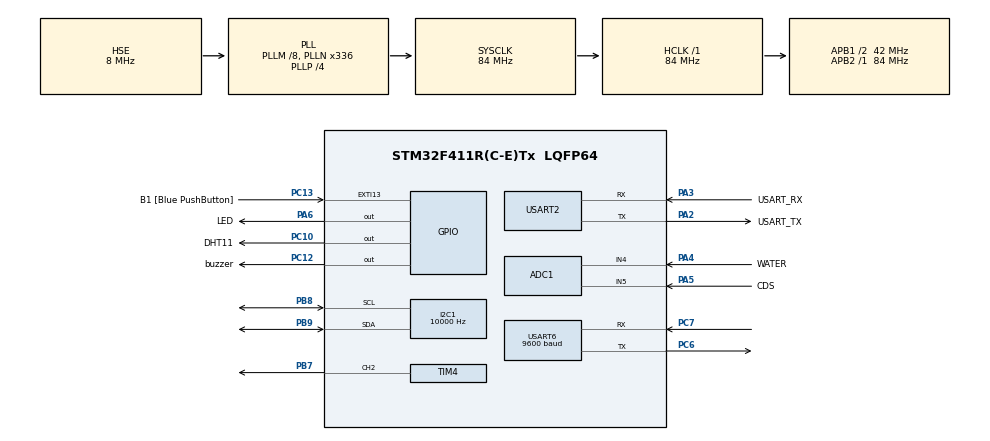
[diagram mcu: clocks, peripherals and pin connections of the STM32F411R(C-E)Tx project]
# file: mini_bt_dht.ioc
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ADC1.Channel-0\#ChannelRegularConversion=ADC_CHANNEL_5
ADC1.NbrOfConversionFlag=1
ADC1.Rank-0\#ChannelRegularConversion=1
ADC1.SamplingTime-0\#ChannelRegularConversion=ADC_SAMPLETIME_3CYCLES
ADC1.master=1
I2C1.ClockSpeed=10000
Mcu.Family=STM32F4
Mcu.Name=STM32F411R(C-E)Tx
Mcu.Package=LQFP64
NVIC.PriorityGroup=NVIC_PRIORITYGROUP_0
NVIC.USART2_IRQn=true\:0\:0\:false\:false\:true\:true\:true\:true
NVIC.USART6_IRQn=true\:0\:0\:false\:false\:true\:true\:true\:true
PA13.GPIO_Label=TMS
PA13.Mode=Serial_Wire
PA13.Signal=SYS_JTMS-SWDIO
PA14.GPIO_Label=TCK
PA14.Mode=Serial_Wire
PA14.Signal=SYS_JTCK-SWCLK
PA2.GPIO_Label=USART_TX
PA2.Mode=Asynchronous
PA2.Signal=USART2_TX
PA3.GPIO_Label=USART_RX
PA3.Mode=Asynchronous
PA3.Signal=USART2_RX
PA4.GPIO_Label=WATER
PA4.Signal=ADCx_IN4
PA5.GPIO_Label=CDS
PA5.Signal=ADCx_IN5
PA6.GPIO_Label=LED
PA6.Signal=GPIO_Output
PB3.GPIO_Label=SWO
PB3.Signal=SYS_JTDO-SWO
PB7.Signal=S_TIM4_CH2
PB8.Mode=I2C
PB8.Signal=I2C1_SCL
PB9.Mode=I2C
PB9.Signal=I2C1_SDA
PC10.GPIO_Label=DHT11
PC10.Signal=GPIO_Output
PC12.GPIO_Label=buzzer
PC12.Signal=GPIO_Output
PC13-ANTI_TAMP.GPIO_Label=B1 [Blue PushButton]
PC13-ANTI_TAMP.GPIO_ModeDefaultEXTI=GPIO_MODE_IT_FALLING
PC13-ANTI_TAMP.Signal=GPXTI13
PC14-OSC32_IN.Signal=RCC_OSC32_IN
PC15-OSC32_OUT.Signal=RCC_OSC32_OUT
PC6.Mode=Asynchronous
PC6.Signal=USART6_TX
PC7.Mode=Asynchronous
PC7.Signal=USART6_RX
PH0\ -\ OSC_IN.Mode=HSE-External-Oscillator
PH0\ -\ OSC_IN.Signal=RCC_OSC_IN
PH1\ -\ OSC_OUT.Mode=HSE-External-Oscillator
PH1\ -\ OSC_OUT.Signal=RCC_OSC_OUT
ProjectManager.HeapSize=0x200
ProjectManager.StackSize=0x400
ProjectManager.TargetToolchain=STM32CubeIDE
RCC.48MHZClocksFreq_Value=84000000
RCC.AHBFreq_Value=84000000
RCC.APB1CLKDivider=RCC_HCLK_DIV2
RCC.APB1Freq_Value=42000000
RCC.APB1TimFreq_Value=84000000
RCC.APB2Freq_Value=84000000
RCC.APB2TimFreq_Value=84000000
RCC.CortexFreq_Value=84000000
RCC.FLatency-AdvancedSettings=FLASH_LATENCY_2
RCC.HCLKFreq_Value=84000000
RCC.HSE_VALUE=8000000
RCC.HSI_VALUE=16000000
RCC.LSE_VALUE=32768
RCC.PLLM=8
RCC.PLLN=336
RCC.PLLP=RCC_PLLP_DIV4
RCC.PLLSourceVirtual=RCC_PLLSOURCE_HSE
RCC.SYSCLKFreq_VALUE=84000000
RCC.SYSCLKSource=RCC_SYSCLKSOURCE_PLLCLK
RCC.VCOOutputFreq_Value=336000000
SH.ADCx_IN4.0=ADC1_IN4,IN4
SH.ADCx_IN5.0=ADC1_IN5,IN5
SH.S_TIM4_CH2.0=TIM4_CH2,PWM Generation2 CH2
TIM4.Channel-PWM\ Generation2\ CH2=TIM_CHANNEL_2
TIM4.Period=20000-1
TIM4.Prescaler=84-1
USART2.VirtualMode=VM_ASYNC
USART6.BaudRate=9600
USART6.VirtualMode=VM_ASYNC
board=NUCLEO-F411RE

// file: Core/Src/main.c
/* USER CODE BEGIN Header */
/**
  ******************************************************************************
  * @file           : main.c
  * @brief          : Main program body
  ******************************************************************************
  */
/* USER CODE END Header */
#include "main.h"

/* USER CODE BEGIN Includes */
#include <stdio.h>
#include <string.h>
#include <stdbool.h>

#include "water.h"
#include "esp.h"
/* USER CODE END Includes */

/* USER CODE BEGIN PTD */
// 알람 상태를 위한 열거형 정의
typedef enum {
  ALARM_STATE_IDLE,      // 대기 상태
  ALARM_STATE_ACTIVE,    // 알람 활성화 상태
  ALARM_STATE_WAITING    // 재시작 대기 상태
} AlarmState;
/* USER CODE END PTD */

/* USER CODE BEGIN PD */
// 부저 제어를 위한 매크로 정의
#define BUZZER_ON GPIO_PIN_SET   // 부저 켜기
#define BUZZER_OFF GPIO_PIN_RESET // 부저 끄기

// 서버 연결 및 데이터 전송 관련 매크로
#define SERVER_RECONNECT_TIME 60000  // 서버 재연결 시도 간격 (60초)
#define CONN_RETRY_MAX 3             // 연결 재시도 최대 횟수

// 알람 관련 매크로
#define MAX_ALARM_COUNT 3    // 최대 알람 횟수 3개로 수정
#define ARR_CNT 7
/* USER CODE END PD */

ADC_HandleTypeDef hadc1;

I2C_HandleTypeDef hi2c1;

TIM_HandleTypeDef htim4;

UART_HandleTypeDef huart2;
UART_HandleTypeDef huart6;

/* USER CODE BEGIN PV */
// 알람 상태 변수들
AlarmState current_alarm_state = ALARM_STATE_IDLE;
bool buzzer_state = false;         // 현재 부저 상태
bool alarm_active = false;         // 알람 활성화 상태
uint8_t current_alarm_index = 0;   // 현재 실행 중인 알람 인덱스
uint32_t last_time_print = 0;      // 시간 출력을 위한 전역 변수

// 서버 연결 관련 변수들
bool server_connected = true;     // 서버 연결 상태
uint8_t conn_retry_count = 0;      // 연결 재시도 카운터
uint32_t last_attempt_time = 0;    // 마지막 연결 시도 시간
uint32_t last_conn_check_time = 0; // 마지막 서버 연결 확인 시간
uint8_t connection_errors = 0;     // 연결 오류 카운터

char recv_line[100];
uint8_t idx = 0;

// 다중 알람 시간 설정을 위한 구조체 및 배열
typedef struct {
    int hour;
    int minute;
    int second;
    bool active;
} AlarmTime;

// 의미 없는 지정 시간 삭제X
AlarmTime alarm_times[MAX_ALARM_COUNT] = {
    {20, 8, 0, true},
    {20, 9, 0, true},
    {20, 10, 0, true}
};
/* USER CODE END PV */

void SystemClock_Config(void);
static void MX_GPIO_Init(void);
static void MX_USART2_UART_Init(void);
static void MX_USART6_UART_Init(void);
static void MX_I2C1_Init(void);
static void MX_TIM4_Init(void);
static void MX_ADC1_Init(void);
/* USER CODE BEGIN PFP */
void Buzzer_Control(bool state);              // 부저 제어 함수
bool Server_Connect(void);                    // 서버 연결 함수
void Reset_Connection(void);                  // 연결 초기화 함수
void handle_server_command(char *cmd);        // 서버 명령 처리 함수
void Set_Alarm_Time(uint8_t index, uint8_t hour, uint8_t minute); // 알람 시간 설정 함수 (인덱스 파라미터 추가)
void handle_esp_event(char *recvBuf);         // ESP 이벤트 처리 함수
/* USER CODE END PFP */

/* USER CODE BEGIN 0 */

void poll_uart6_input() {
    uint8_t ch;
    while (HAL_UART_Receive(&huart6, &ch, 1, 10) == HAL_OK) {
        if (ch == '\n') {
            recv_line[idx] = '\0';
            printf("📥 STM32 수신: %s\r\n", recv_line);
            handle_esp_event(recv_line);
            idx = 0;
        } else if (idx < sizeof(recv_line) - 1) {
            recv_line[idx++] = ch;
        }
    }
}

void send_message_to_server(char *msg) {
    char buffer[100];
    snprintf(buffer, sizeof(buffer), "%s\n", msg);
    HAL_UART_Transmit(&huart6, (uint8_t *)buffer, strlen(buffer), HAL_MAX_DELAY);
}

// 부저 제어 함수
void Buzzer_Control(bool state)
{
	// GPIO로 부저 제어
	    HAL_GPIO_WritePin(buzzer_GPIO_Port, buzzer_Pin, state ? BUZZER_ON : BUZZER_OFF);

	    // 상태가 변경될 때만 메시지 전송 (이미 같은 상태면 중복 메시지 방지)
	    if (buzzer_state != state) {
	        // 부저 상태 저장
	        buzzer_state = state;

	        // 서버에 상태 변경 메시지 전송
	        if (server_connected) {
	            if (state) {
	                // 부저가 켜질 때 개별 메시지 전송
	                printf("부저 ON 메시지 전송 시도\r\n");
	                send_message_to_server("[USR_BT]@SOUNDON\n");
	                HAL_Delay(50);
	                send_message_to_server("[USR_LIN]SOUNDON");
	                HAL_Delay(50);

	                // 디버깅용 로그
	                printf("부저 ON 메시지 전송 완료\r\n");
	            } else {
	                // 부저가 꺼질 때
	                printf("부저 OFF 메시지 전송 시도\r\n");
	                send_message_to_server("[STM32]SOUND@OFF");
	                HAL_Delay(50);

	                // 디버깅용 로그
	                printf("부저 OFF 메시지 전송 완료\r\n");
	            }
	        } else {
	            printf("서버 연결 안됨: 메시지 전송 실패\r\n");
	        }
	    }
	}

// 알람 시간 설정 함수 (인덱스 파라미터 추가)
void Set_Alarm_Time(uint8_t index, uint8_t hour, uint8_t minute)
{
//  // 인덱스 범위 확인
//  if (index >= MAX_ALARM_COUNT) {
//    printf("⚠️ 잘못된 알람 인덱스: %d (최대 %d)\r\n", index, MAX_ALARM_COUNT-1);
//    return;
//  }

  // 지정된 인덱스의 알람 설정
  alarm_times[index].hour = hour;
  alarm_times[index].minute = minute;
  alarm_times[index].second = 0;
  alarm_times[index].active = true;

  printf("🕒 알람 %d번 시간 설정: %02d시 %02d분\r\n", index, hour, minute);
}

// ESP 이벤트 처리 함수
void handle_esp_event(char *recvBuf)
{
  // 개행 문자 제거
  recvBuf[strcspn(recvBuf, "\r\n")] = 0;

  // 받은 메시지 전체 로깅
  //printf("수신 메시지 (raw): '%s'\r\n", recvBuf);

  // 연결 해제 확인
  if(strstr(recvBuf, "DISCONNECT") != NULL || strstr(recvBuf, "Disconnected") != NULL) {
    printf("ESP 이벤트: 서버 연결 해제\r\n");
    server_connected = false;
    printf("New Disconnected\r\n");
  }

  // 서버 명령어 처리
  handle_server_command(recvBuf);
}

// 서버 명령 처리 함수
void handle_server_command(char *cmd)
{
	// ALARM_SET 명령 처리 로직
	if(strstr(cmd, "ALARM_SET@") != NULL) {
	  printf("알람 설정 명령 수신: %s\r\n", cmd);

	  // [USR_AND]ALARM_SET@인덱스@시간@분 형식 파싱
	  int index, hour, minute;
	  if(sscanf(cmd, "[USR_AND]ALARM_SET@%d@%d@%d", &index, &hour, &minute) == 3) {
	    printf("알람 설정 요청: 인덱스=%d, 시간=%d시 %d분\r\n", index, hour, minute);

	    // 범위 확인 후 unsigned char로 변환하여 함수 호출
	    if(index >= 0 && index < MAX_ALARM_COUNT &&
	       hour >= 0 && hour <= 23 &&
	       minute >= 0 && minute <= 59) {
	      Set_Alarm_Time((uint8_t)index, (uint8_t)hour, (uint8_t)minute);
	    } else {
	      printf("알람 설정 범위 오류: 인덱스=%d, 시간=%d시 %d분\r\n", index, hour, minute);
	    }
	  } else {
	    printf("알람 설정 명령 형식 오류: %s\r\n", cmd);
	  }
	}

	// ALARM_DELETE 명령 처리 로직도 같은 형식으로 수정
	if(strstr(cmd, "ALARM_DELETE@") != NULL) {
	  printf("알람 삭제 명령 수신: %s\r\n", cmd);

	  // [USR_AND]ALARM_DELETE@인덱스 형식 파싱
	  int index;
	  if(sscanf(cmd, "[USR_AND]ALARM_DELETE@%d", &index) == 1) {
	    printf("알람 삭제 요청: 인덱스=%d\r\n", index);

	    // 해당 인덱스의 알람 비활성화
	    if(index >= 0 && index < MAX_ALARM_COUNT) {
	      alarm_times[index].active = false;
	      printf("알람 %d번 비활성화 완료\r\n", index);
	    } else {
	      printf("잘못된 알람 인덱스: %d\r\n", index);
	    }
	  } else {
	    printf("알람 삭제 명령 형식 오류: %s\r\n", cmd);
	  }
	}

  // 명령어 디버그 출력
  //printf("수신 명령어 분석: '%s'\r\n", cmd);

  // SOUND@OFF 명령 처리
  if(strstr(cmd, "SOUND@OFF") != NULL) {
    printf("부저 끄기 명령 수신: %s\r\n", cmd);

    // 부저 즉시 끄기
    Buzzer_Control(false);

    // 알람 상태 변수 초기화
    alarm_active = false;

    // 알람 상태를 IDLE로 변경
    current_alarm_state = ALARM_STATE_IDLE;

    // 시작 시간 변수 초기화를 위한 추가 코드
      printf("SOUND@OFF 명령으로 알람 종료\r\n");
  }

  // 시간 명령 처리
  if(strstr(cmd, "TIME@") != NULL) {
    // 시간 문자열 추출
    char *time_str = cmd + 14;

    //printf("🕒 서버 시간 수신: %s\r\n", time_str);

    // 시간 문자열 파싱 (HH:MM:SS 또는 HH-MM-SS 형식)
    int hours, minutes, seconds;
    if(sscanf(time_str, "%d-%d-%d", &hours, &minutes, &seconds) == 3) {

      printf("📅 파싱된 시간: %02d시-%02d분-%02d초\r\n", hours, minutes, seconds);

      // 현재 알람이 비활성화 상태일 때만 새 알람 확인
      if (current_alarm_state != ALARM_STATE_ACTIVE) {
        // 알람 배열을 순회하며 현재 시간과 일치하는 알람 찾기
        for (int i = 0; i < MAX_ALARM_COUNT; i++) {  // MAX_ALARM_COUNT(3)로 변경
          if (alarm_times[i].active &&
              hours == alarm_times[i].hour &&
              minutes == alarm_times[i].minute &&
              seconds < 5) { // 초는 5초 이내 허용

            printf("🚨 알람 시간 일치! 알람 %d번 시작 (%02d:%02d:%02d)\r\n",
                   i, alarm_times[i].hour, alarm_times[i].minute, alarm_times[i].second);

            // 현재 알람 인덱스 설정하고 부저 울림
            current_alarm_index = i;
            Buzzer_Control(true);
            alarm_active = true;
            current_alarm_state = ALARM_STATE_ACTIVE;

            break; // 한 번에 하나의 알람만 처리
          }
        }
      }
    }
  }
}

// 연결 초기화 함수
void Reset_Connection(void)
{
  server_connected = false;
  conn_retry_count = 0;
  connection_errors = 0;
  printf("연결 초기화됨\r\n");
}

/* USER CODE END 0 */

int main(void)
{

  /* MCU Configuration--------------------------------------------------------*/

  /* Reset of all peripherals, Initializes the Flash interface and the Systick. */
  HAL_Init();

  /* Configure the system clock */
  SystemClock_Config();

  /* Initialize all configured peripherals */
  MX_GPIO_Init();
  MX_USART2_UART_Init();
  MX_USART6_UART_Init();
  MX_I2C1_Init();
  MX_TIM4_Init();
  MX_ADC1_Init();
  /* USER CODE BEGIN 2 */

  // UART 초기화 (printf 출력용)
  printf("\r\n\r\n===== 시스템 시작 =====\r\n");
  HAL_Delay(1000); // 시스템 안정화를 위한 지연

//  // 3개의 알람 시간 설정
//  Set_Alarm_Time(0, 19, 10);  // 첫 번째 알람
//  Set_Alarm_Time(1, 19, 11);  // 두 번째 알람
//  Set_Alarm_Time(2, 19, 00);  // 세 번째 알람

  // 서버 명령 콜백 함수 등록
  register_server_command_callback(handle_esp_event);
  printf("서버 명령 핸들러 등록 완료\r\n");

  // 초기화 변수 설정
  last_conn_check_time = HAL_GetTick();
  last_attempt_time = 0;
  current_alarm_state = ALARM_STATE_IDLE;

  printf("알람 시스템 초기화 완료 (총 %d개 알람 설정됨)\r\n", MAX_ALARM_COUNT);

  // 서버 연결 시도
  printf("시스템 초기화 완료, 서버 연결 준비 중...\r\n");
  HAL_Delay(2000);

  printf("메인 루프 시작\r\n");
  /* USER CODE END 2 */

  /* Infinite loop */
  /* USER CODE BEGIN WHILE */
  while (1)
  {
    // 현재 시간 가져오기
    uint32_t current_time = HAL_GetTick();

    // 1초마다 현재 시간 요청
    if (current_time - last_time_print >= 1000) {
      if (server_connected) {
        // 시간 요청 문자열 전송
        char time_request[100];
        sprintf(time_request, "[USR_SQL]GET@TIME");
        send_message_to_server(time_request);
        //printf("🕒 서버에 시간 요청 전송\r\n");

        // 내부 시간 기반 알람 체크 (서버로부터 시간을 받기 전에 임시로 사용)
        if (1) {
          // 시스템 시간을 초 단위로 변환
          uint32_t sys_seconds = current_time / 1000;
          uint32_t sys_hours = (sys_seconds / 3600) % 24;
          uint32_t sys_minutes = (sys_seconds / 60) % 60;
          uint32_t sys_seconds_only = sys_seconds % 60;

          // 알람 배열을 순회하며 현재 시간과 일치하는 알람 찾기
          for (int i = 0; i < MAX_ALARM_COUNT; i++) {
            if (alarm_times[i].active &&
                sys_hours == alarm_times[i].hour &&
                sys_minutes == alarm_times[i].minute &&
                sys_seconds_only < 3) { // 초는 3초 이내 허용 (중복 알람 방지)

              printf("알람 시간 일치! 알람 %d번 시작 (내부시간: %02lu:%02lu:%02lu)\r\n",
                     i, sys_hours, sys_minutes, sys_seconds_only);

              // 현재 알람 인덱스 설정하고 부저 울림
              current_alarm_index = i;
              Buzzer_Control(true);
              alarm_active = true;
              current_alarm_state = ALARM_STATE_ACTIVE;

              break; // 한 번에 하나의 알람만 처리
            }
          }
        }
      }
      last_time_print = current_time;
    }

    poll_uart6_input();

    // 알람 상태가 활성화되어 있을 때 부저 상태 관리
    if (current_alarm_state == ALARM_STATE_ACTIVE) {
      // 상태 메시지를 한 번만 출력
      static bool status_printed = false;
      if (!status_printed) {
        printf("알람 활성화 상태\r\n");
        status_printed = true;
      }

      // 알람이 처음 활성화될 때 시작 시간 기록 (디버깅용으로 유지)
      static uint32_t alarm_start_time = 0;
      if (alarm_active && alarm_start_time == 0) {
        alarm_start_time = current_time;
        printf("알람 시작 시간: %lu\r\n", alarm_start_time);
      }

        // 알람 상태 초기화
        alarm_active = false;
        current_alarm_state = ALARM_STATE_IDLE;
        alarm_start_time = 0; // 다음 알람을 위해 초기화
        status_printed = false;

    }

    // 오류 임계값 초과 시 리셋
    if (connection_errors >= 5) {
      printf("연결 오류 임계값 초과, ESP 모듈 리셋\r\n");
      HAL_Delay(1000);
      Reset_Connection();
    }
    /* USER CODE END WHILE */
  }
}

void SystemClock_Config(void)
{
  RCC_OscInitTypeDef RCC_OscInitStruct = {0};
  RCC_ClkInitTypeDef RCC_ClkInitStruct = {0};

  /** Configure the main internal regulator output voltage
  */
  __HAL_RCC_PWR_CLK_ENABLE();
  __HAL_PWR_VOLTAGESCALING_CONFIG(PWR_REGULATOR_VOLTAGE_SCALE1);

  /** Initializes the RCC Oscillators according to the specified parameters
  * in the RCC_OscInitTypeDef structure.
  */
  RCC_OscInitStruct.OscillatorType = RCC_OSCILLATORTYPE_HSE;
  RCC_OscInitStruct.HSEState = RCC_HSE_ON;
  RCC_OscInitStruct.PLL.PLLState = RCC_PLL_ON;
  RCC_OscInitStruct.PLL.PLLSource = RCC_PLLSOURCE_HSE;
  RCC_OscInitStruct.PLL.PLLM = 8;
  RCC_OscInitStruct.PLL.PLLN = 336;
  RCC_OscInitStruct.PLL.PLLP = RCC_PLLP_DIV4;
  RCC_OscInitStruct.PLL.PLLQ = 4;
  if (HAL_RCC_OscConfig(&RCC_OscInitStruct) != HAL_OK)
  {
    Error_Handler();
  }

  /** Initializes the CPU, AHB and APB buses clocks
  */
  RCC_ClkInitStruct.ClockType = RCC_CLOCKTYPE_HCLK|RCC_CLOCKTYPE_SYSCLK
                              |RCC_CLOCKTYPE_PCLK1|RCC_CLOCKTYPE_PCLK2;
  RCC_ClkInitStruct.SYSCLKSource = RCC_SYSCLKSOURCE_PLLCLK;
  RCC_ClkInitStruct.AHBCLKDivider = RCC_SYSCLK_DIV1;
  RCC_ClkInitStruct.APB1CLKDivider = RCC_HCLK_DIV2;
  RCC_ClkInitStruct.APB2CLKDivider = RCC_HCLK_DIV1;

  if (HAL_RCC_ClockConfig(&RCC_ClkInitStruct, FLASH_LATENCY_2) != HAL_OK)
  {
    Error_Handler();
  }
}

static void MX_ADC1_Init(void)
{

  ADC_ChannelConfTypeDef sConfig = {0};

  /** Configure the global features of the ADC (Clock, Resolution, Data Alignment and number of conversion)
  */
  hadc1.Instance = ADC1;
  hadc1.Init.ClockPrescaler = ADC_CLOCK_SYNC_PCLK_DIV4;
  hadc1.Init.Resolution = ADC_RESOLUTION_12B;
  hadc1.Init.ScanConvMode = DISABLE;
  hadc1.Init.ContinuousConvMode = DISABLE;
  hadc1.Init.DiscontinuousConvMode = DISABLE;
  hadc1.Init.ExternalTrigConvEdge = ADC_EXTERNALTRIGCONVEDGE_NONE;
  hadc1.Init.ExternalTrigConv = ADC_SOFTWARE_START;
  hadc1.Init.DataAlign = ADC_DATAALIGN_RIGHT;
  hadc1.Init.NbrOfConversion = 1;
  hadc1.Init.DMAContinuousRequests = DISABLE;
  hadc1.Init.EOCSelection = ADC_EOC_SINGLE_CONV;
  if (HAL_ADC_Init(&hadc1) != HAL_OK)
  {
    Error_Handler();
  }

  /** Configure for the selected ADC regular channel its corresponding rank in the sequencer and its sample time.
  */
  sConfig.Channel = ADC_CHANNEL_5;
  sConfig.Rank = 1;
  sConfig.SamplingTime = ADC_SAMPLETIME_3CYCLES;
  if (HAL_ADC_ConfigChannel(&hadc1, &sConfig) != HAL_OK)
  {
    Error_Handler();
  }

}

static void MX_I2C1_Init(void)
{

  hi2c1.Instance = I2C1;
  hi2c1.Init.ClockSpeed = 10000;
  hi2c1.Init.DutyCycle = I2C_DUTYCYCLE_2;
  hi2c1.Init.OwnAddress1 = 0;
  hi2c1.Init.AddressingMode = I2C_ADDRESSINGMODE_7BIT;
  hi2c1.Init.DualAddressMode = I2C_DUALADDRESS_DISABLE;
  hi2c1.Init.OwnAddress2 = 0;
  hi2c1.Init.GeneralCallMode = I2C_GENERALCALL_DISABLE;
  hi2c1.Init.NoStretchMode = I2C_NOSTRETCH_DISABLE;
  if (HAL_I2C_Init(&hi2c1) != HAL_OK)
  {
    Error_Handler();
  }

}

static void MX_TIM4_Init(void)
{

  TIM_MasterConfigTypeDef sMasterConfig = {0};
  TIM_OC_InitTypeDef sConfigOC = {0};

  htim4.Instance = TIM4;
  htim4.Init.Prescaler = 84-1;
  htim4.Init.CounterMode = TIM_COUNTERMODE_UP;
  htim4.Init.Period = 20000-1;
  htim4.Init.ClockDivision = TIM_CLOCKDIVISION_DIV1;
  htim4.Init.AutoReloadPreload = TIM_AUTORELOAD_PRELOAD_DISABLE;
  if (HAL_TIM_PWM_Init(&htim4) != HAL_OK)
  {
    Error_Handler();
  }
  sMasterConfig.MasterOutputTrigger = TIM_TRGO_RESET;
  sMasterConfig.MasterSlaveMode = TIM_MASTERSLAVEMODE_DISABLE;
  if (HAL_TIMEx_MasterConfigSynchronization(&htim4, &sMasterConfig) != HAL_OK)
  {
    Error_Handler();
  }
  sConfigOC.OCMode = TIM_OCMODE_PWM1;
  sConfigOC.Pulse = 0;
  sConfigOC.OCPolarity = TIM_OCPOLARITY_HIGH;
  sConfigOC.OCFastMode = TIM_OCFAST_DISABLE;
  if (HAL_TIM_PWM_ConfigChannel(&htim4, &sConfigOC, TIM_CHANNEL_2) != HAL_OK)
  {
    Error_Handler();
  }
  HAL_TIM_MspPostInit(&htim4);

}

static void MX_USART2_UART_Init(void)
{

  huart2.Instance = USART2;
  huart2.Init.BaudRate = 115200;
  huart2.Init.WordLength = UART_WORDLENGTH_8B;
  huart2.Init.StopBits = UART_STOPBITS_1;
  huart2.Init.Parity = UART_PARITY_NONE;
  huart2.Init.Mode = UART_MODE_TX_RX;
  huart2.Init.HwFlowCtl = UART_HWCONTROL_NONE;
  huart2.Init.OverSampling = UART_OVERSAMPLING_16;
  if (HAL_UART_Init(&huart2) != HAL_OK)
  {
    Error_Handler();
  }

}

static void MX_USART6_UART_Init(void)
{

  huart6.Instance = USART6;
  huart6.Init.BaudRate = 38400;
  huart6.Init.WordLength = UART_WORDLENGTH_8B;
  huart6.Init.StopBits = UART_STOPBITS_1;
  huart6.Init.Parity = UART_PARITY_NONE;
  huart6.Init.Mode = UART_MODE_TX_RX;
  huart6.Init.HwFlowCtl = UART_HWCONTROL_NONE;
  huart6.Init.OverSampling = UART_OVERSAMPLING_16;
  if (HAL_UART_Init(&huart6) != HAL_OK)
  {
    Error_Handler();
  }

}

static void MX_GPIO_Init(void)
{
  GPIO_InitTypeDef GPIO_InitStruct = {0};

  /* GPIO Ports Clock Enable */
  __HAL_RCC_GPIOC_CLK_ENABLE();
  __HAL_RCC_GPIOH_CLK_ENABLE();
  __HAL_RCC_GPIOA_CLK_ENABLE();
  __HAL_RCC_GPIOB_CLK_ENABLE();

  /*Configure GPIO pin Output Level */
  HAL_GPIO_WritePin(LED_GPIO_Port, LED_Pin, GPIO_PIN_RESET);

  /*Configure GPIO pin Output Level */
  HAL_GPIO_WritePin(GPIOC, DHT11_Pin|buzzer_Pin, GPIO_PIN_RESET);

  /*Configure GPIO pin : B1_Pin */
  GPIO_InitStruct.Pin = B1_Pin;
  GPIO_InitStruct.Mode = GPIO_MODE_IT_FALLING;
  GPIO_InitStruct.Pull = GPIO_NOPULL;
  HAL_GPIO_Init(B1_GPIO_Port, &GPIO_InitStruct);

  /*Configure GPIO pin : LED_Pin */
  GPIO_InitStruct.Pin = LED_Pin;
  GPIO_InitStruct.Mode = GPIO_MODE_OUTPUT_PP;
  GPIO_InitStruct.Pull = GPIO_NOPULL;
  GPIO_InitStruct.Speed = GPIO_SPEED_FREQ_LOW;
  HAL_GPIO_Init(LED_GPIO_Port, &GPIO_InitStruct);

  /*Configure GPIO pins : DHT11_Pin buzzer_Pin */
  GPIO_InitStruct.Pin = DHT11_Pin|buzzer_Pin;
  GPIO_InitStruct.Mode = GPIO_MODE_OUTPUT_PP;
  GPIO_InitStruct.Pull = GPIO_NOPULL;
  GPIO_InitStruct.Speed = GPIO_SPEED_FREQ_LOW;
  HAL_GPIO_Init(GPIOC, &GPIO_InitStruct);

}

void Error_Handler(void)
{
	  __disable_irq();
	  while (1)
	  {
	  }
}
